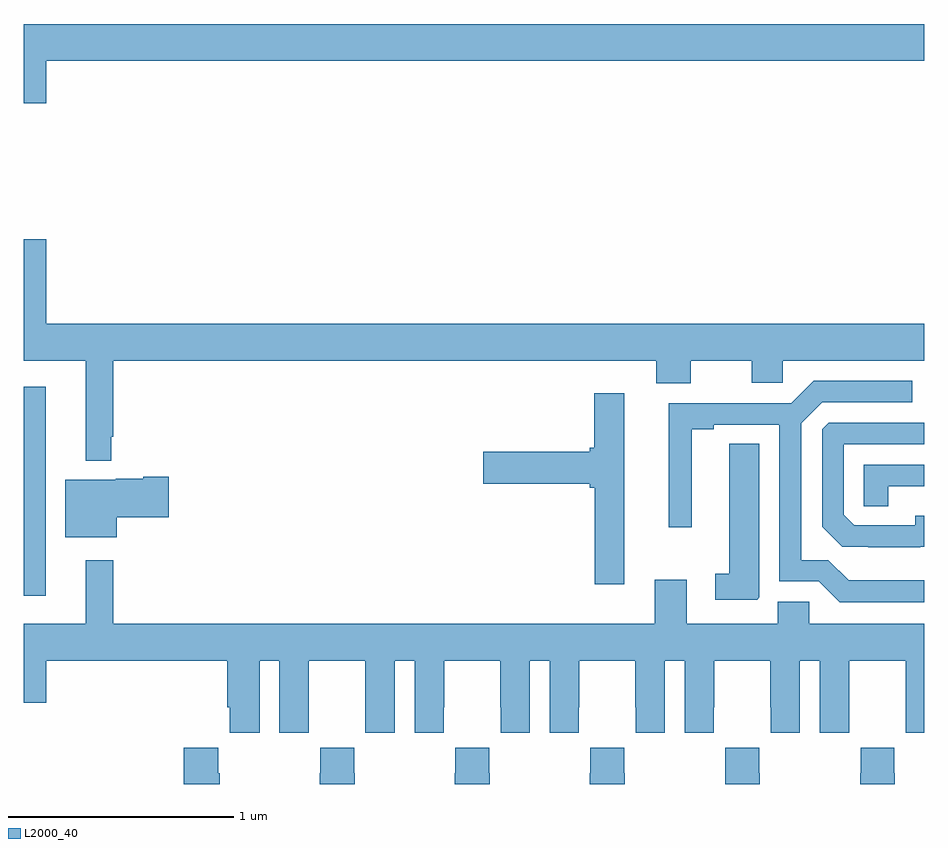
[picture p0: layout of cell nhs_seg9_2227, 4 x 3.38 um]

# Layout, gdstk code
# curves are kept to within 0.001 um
import gdstk
lib = gdstk.Library(unit=1e-6, precision=1e-09)
def R(c, l, rs):  # rectangles x0, y0, x1, y1
    for r in rs: c.add(gdstk.rectangle(r[:2], r[2:], *l))
def P(c, l, *ps):  # polygons
    for p in ps: c.add(gdstk.Polygon(p, *l))
L2000_40 = (2000, 40)

nhs_seg9_2227 = lib.new_cell('nhs_seg9_2227')
R(nhs_seg9_2227, L2000_40, [(237,1235.337,237.097,1236.265)])
P(nhs_seg9_2227, L2000_40, [(237.1,1237.712),(241,1237.712),(241,1237.876),(237,1237.876),(237,1237.524),(237.1,1237.524)],
  [(237.389,1236.043),(237.397,1236.043),(237.397,1236.38),(239.81,1236.38),(239.81,1236.281),(239.962,1236.281),(239.962,1236.38),(240.233,1236.38),(240.233,1236.282),(240.372,1236.282),(240.372,1236.38),(241,1236.38),(241,1236.544),(237.1,1236.544),(237.1,1236.919),(237,1236.919),(237,1236.38),(237.275,1236.38),(237.275,1235.936),(237.389,1235.936)],
  [(241,1235.404),(240.665,1235.404),(240.574,1235.495),(240.453,1235.495),(240.453,1236.102),(240.546,1236.195),(240.946,1236.195),(240.946,1236.291),(240.509,1236.291),(240.41,1236.192),(239.864,1236.192),(239.864,1235.64),(239.968,1235.64),(239.968,1236.076),(240.064,1236.076),(240.064,1236.096),(240.357,1236.096),(240.357,1235.4),(240.531,1235.4),(240.624,1235.307),(241,1235.307)],
  [(239.668,1236.235),(239.534,1236.235),(239.534,1235.994),(239.514,1235.994),(239.514,1235.976),(239.04,1235.976),(239.04,1235.834),(239.514,1235.834),(239.514,1235.816),(239.537,1235.816),(239.537,1235.388),(239.668,1235.388)],
  [(240.983,1235.553),(241,1235.553),(241,1235.692),(240.959,1235.692),(240.959,1235.649),(240.69,1235.649),(240.642,1235.697),(240.642,1236.009),(241,1236.009),(241,1236.105),(240.576,1236.105),(240.546,1236.075),(240.546,1235.643),(240.635,1235.554),(240.751,1235.554),(240.751,1235.552)],
  [(240.268,1235.329),(240.268,1236.011),(240.134,1236.011),(240.134,1235.435),(240.072,1235.435),(240.072,1235.319),(240.258,1235.319)],
  [(240.841,1235.822),(241,1235.822),(241,1235.919),(240.732,1235.919),(240.732,1235.734),(240.841,1235.734)],
  [(237.412,1235.686),(237.643,1235.686),(237.643,1235.864),(237.53,1235.864),(237.53,1235.857),(237.408,1235.857),(237.408,1235.851),(237.185,1235.851),(237.185,1235.597),(237.412,1235.597)],
  [(237,1234.86),(237.1,1234.86),(237.1,1235.048),(237.905,1235.048),(237.905,1234.84),(237.914,1234.84),(237.914,1234.728),(238.048,1234.728),(238.048,1235.048),(238.136,1235.048),(238.136,1234.728),(238.266,1234.728),(238.266,1234.84),(238.267,1234.84),(238.267,1235.048),(238.517,1235.048),(238.517,1234.84),(238.518,1234.84),(238.518,1234.728),(238.648,1234.728),(238.648,1235.048),(238.736,1235.048),(238.736,1234.728),(238.866,1234.728),(238.866,1234.84),(238.867,1234.84),(238.867,1235.048),(239.117,1235.048),(239.117,1234.84),(239.118,1234.84),(239.118,1234.728),(239.248,1234.728),(239.248,1235.048),(239.336,1235.048),(239.336,1234.728),(239.466,1234.728),(239.466,1234.84),(239.467,1234.84),(239.467,1235.048),(239.717,1235.048),(239.717,1234.84),(239.718,1234.84),(239.718,1234.728),(239.848,1234.728),(239.848,1235.048),(239.936,1235.048),(239.936,1234.728),(240.066,1234.728),(240.066,1234.84),(240.067,1234.84),(240.067,1235.048),(240.317,1235.048),(240.317,1234.84),(240.318,1234.84),(240.318,1234.728),(240.448,1234.728),(240.448,1235.048),(240.536,1235.048),(240.536,1234.728),(240.666,1234.728),(240.666,1234.84),(240.667,1234.84),(240.667,1235.048),(240.917,1235.048),(240.917,1234.84),(240.918,1234.84),(240.918,1234.728),(241,1234.728),(241,1235.212),(240.489,1235.212),(240.489,1235.31),(240.35,1235.31),(240.35,1235.212),(239.944,1235.212),(239.944,1235.407),(239.804,1235.407),(239.804,1235.212),(237.397,1235.212),(237.397,1235.494),(237.275,1235.494),(237.275,1235.212),(237,1235.212)],
  [(240.87,1234.547),(240.867,1234.547),(240.867,1234.66),(240.717,1234.66),(240.717,1234.547),(240.715,1234.547),(240.715,1234.5),(240.87,1234.5)],
  [(240.27,1234.547),(240.267,1234.547),(240.267,1234.66),(240.117,1234.66),(240.117,1234.547),(240.115,1234.547),(240.115,1234.5),(240.27,1234.5)],
  [(239.67,1234.547),(239.667,1234.547),(239.667,1234.66),(239.517,1234.66),(239.517,1234.547),(239.515,1234.547),(239.515,1234.5),(239.67,1234.5)],
  [(239.07,1234.547),(239.067,1234.547),(239.067,1234.66),(238.917,1234.66),(238.917,1234.547),(238.915,1234.547),(238.915,1234.5),(239.07,1234.5)],
  [(238.47,1234.547),(238.467,1234.547),(238.467,1234.66),(238.317,1234.66),(238.317,1234.547),(238.315,1234.547),(238.315,1234.5),(238.47,1234.5)],
  [(237.87,1234.547),(237.863,1234.547),(237.863,1234.66),(237.71,1234.66),(237.71,1234.5),(237.87,1234.5)])

lib.write_gds('nhs_seg9_2227.gds')
